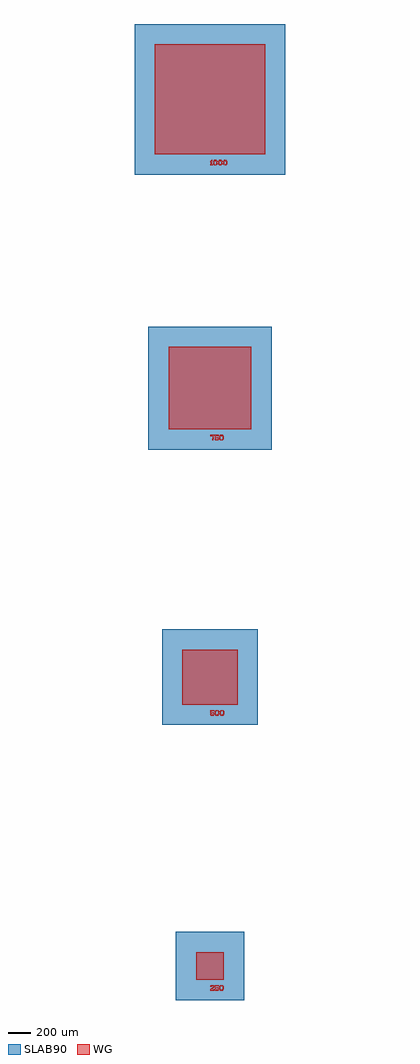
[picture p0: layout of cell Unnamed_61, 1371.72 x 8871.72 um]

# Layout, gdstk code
import gdstk
lib = gdstk.Library(unit=1e-6, precision=1e-09)
def R(c, l, rs):  # rectangles x0, y0, x1, y1
    for r in rs: c.add(gdstk.rectangle(r[:2], r[2:], *l))
def P(c, l, *ps):  # polygons
    for p in ps: c.add(gdstk.Polygon(p, *l))
WG = (1, 0)
SLAB90 = (3, 0)

rectangle_s1371p72_1371_ = lib.new_cell('rectangle_S1371p72_1371_f5a3a8c9')
R(rectangle_s1371p72_1371_, SLAB90, [(0,0,1371.72,1371.72)])

unnamed_73 = lib.new_cell('Unnamed_73')
unnamed_73.add(gdstk.Reference(rectangle_s1371p72_1371_, (-684.86,-185.86)))

unnamed_72 = lib.new_cell('Unnamed_72')
R(unnamed_72, WG, [(-499,0,0,1000), (2,0,501,1000)])
unnamed_72.add(gdstk.Reference(unnamed_73, (0,0)))

text_t1000_s50_p0_0_jlef = lib.new_cell('text_T1000_S50_P0_0_Jleft_L1_0')
P(text_t1000_s50_p0_0_jlef, WG, [(48.5,0),(51,10),(55,10),(60,15),(60,35),(55,40),(57.5,50),(60,50),(70,40),(70,10),(60,0)],
  [(93.5,0),(96,10),(100,10),(105,15),(105,35),(100,40),(102.5,50),(105,50),(115,40),(115,10),(105,0)],
  [(138.5,0),(141,10),(145,10),(150,15),(150,35),(145,40),(147.5,50),(150,50),(160,40),(160,10),(150,0)],
  [(40,0),(30,10),(30,40),(40,50),(51.5,50),(49,40),(45,40),(40,35),(40,15),(45,10),(42.5,0)],
  [(85,0),(75,10),(75,40),(85,50),(96.5,50),(94,40),(90,40),(85,35),(85,15),(90,10),(87.5,0)],
  [(130,0),(120,10),(120,40),(130,50),(141.5,50),(139,40),(135,40),(130,35),(130,15),(135,10),(132.5,0)],
  [(5,0),(5,10),(10,10),(10,30),(5,30),(5,40),(15,50),(20,50),(20,10),(25,10),(25,0)])

rectangle_s871p72_871p7_ = lib.new_cell('rectangle_S871p72_871p7_6941abd5')
R(rectangle_s871p72_871p7_, SLAB90, [(0,0,871.72,871.72)])

unnamed_67 = lib.new_cell('Unnamed_67')
unnamed_67.add(gdstk.Reference(rectangle_s871p72_871p7_, (-434.86,-185.86)))

unnamed_66 = lib.new_cell('Unnamed_66')
R(unnamed_66, WG, [(-249,0,0,500), (2,0,251,500)])
unnamed_66.add(gdstk.Reference(unnamed_67, (0,0)))

rectangle_s1121p72_1121_ = lib.new_cell('rectangle_S1121p72_1121_35d847ae')
R(rectangle_s1121p72_1121_, SLAB90, [(0,0,1121.72,1121.72)])

unnamed_70 = lib.new_cell('Unnamed_70')
unnamed_70.add(gdstk.Reference(rectangle_s1121p72_1121_, (-559.86,-185.86)))

unnamed_69 = lib.new_cell('Unnamed_69')
R(unnamed_69, WG, [(-374,0,0,750), (2,0,376,750)])
unnamed_69.add(gdstk.Reference(unnamed_70, (0,0)))

text_t500_s50_p0_0_jleft = lib.new_cell('text_T500_S50_P0_0_Jleft_L1_0')
P(text_t500_s50_p0_0_jleft, WG, [(63.5,0),(66,10),(70,10),(75,15),(75,35),(70,40),(72.5,50),(75,50),(85,40),(85,10),(75,0)],
  [(108.5,0),(111,10),(115,10),(120,15),(120,35),(115,40),(117.5,50),(120,50),(130,40),(130,10),(120,0)],
  [(55,0),(45,10),(45,40),(55,50),(66.5,50),(64,40),(60,40),(55,35),(55,15),(60,10),(57.5,0)],
  [(100,0),(90,10),(90,40),(100,50),(111.5,50),(109,40),(105,40),(100,35),(100,15),(105,10),(102.5,0)],
  [(10,0),(5,5),(5,15),(15,15),(15,10),(30,10),(30,20),(10,20),(5,25),(5,50),(40,50),(40,40),(15,40),(15,30),(35,30),(40,25),(40,5),(35,0)])

text_t750_s50_p0_0_jleft = lib.new_cell('text_T750_S50_P0_0_Jleft_L1_0')
P(text_t750_s50_p0_0_jleft, WG, [(95,0),(85,10),(85,40),(95,50),(106.5,50),(104,40),(100,40),(95,35),(95,15),(100,10),(97.5,0)],
  [(50,0),(45,5),(45,15),(55,15),(55,10),(70,10),(70,20),(50,20),(45,25),(45,50),(80,50),(80,40),(55,40),(55,30),(75,30),(80,25),(80,5),(75,0)],
  [(103.5,0),(106,10),(110,10),(115,15),(115,35),(110,40),(112.5,50),(115,50),(125,40),(125,10),(115,0)],
  [(20,0),(28,40),(5,40),(5,50),(40,50),(30,0)])

rectangle_s621p72_621p7_ = lib.new_cell('rectangle_S621p72_621p7_074833c5')
R(rectangle_s621p72_621p7_, SLAB90, [(0,0,621.72,621.72)])

unnamed_64 = lib.new_cell('Unnamed_64')
unnamed_64.add(gdstk.Reference(rectangle_s621p72_621p7_, (-309.86,-185.86)))

unnamed_63 = lib.new_cell('Unnamed_63')
R(unnamed_63, WG, [(-124,0,0,250), (2,0,126,250)])
unnamed_63.add(gdstk.Reference(unnamed_64, (0,0)))

text_t250_s50_p0_0_jleft = lib.new_cell('text_T250_S50_P0_0_Jleft_L1_0')
P(text_t250_s50_p0_0_jleft, WG, [(95,0),(85,10),(85,40),(95,50),(106.5,50),(104,40),(100,40),(95,35),(95,15),(100,10),(97.5,0)],
  [(50,0),(45,5),(45,15),(55,15),(55,10),(70,10),(70,20),(50,20),(45,25),(45,50),(80,50),(80,40),(55,40),(55,30),(75,30),(80,25),(80,5),(75,0)],
  [(103.5,0),(106,10),(110,10),(115,15),(115,35),(110,40),(112.5,50),(115,50),(125,40),(125,10),(115,0)],
  [(5,0),(5,10),(30,35),(30,40),(15,40),(15,35),(5,35),(5,45),(10,50),(35,50),(40,45),(40,30),(20,10),(40,10),(40,0)])

unnamed_61 = lib.new_cell('Unnamed_61')
unnamed_61.add(gdstk.Reference(unnamed_72, (0,7500)))
unnamed_61.add(gdstk.Reference(text_t1000_s50_p0_0_jlef, (0,7400)))
unnamed_61.add(gdstk.Reference(unnamed_66, (0,2500)))
unnamed_61.add(gdstk.Reference(unnamed_69, (0,5000)))
unnamed_61.add(gdstk.Reference(text_t500_s50_p0_0_jleft, (0,2400)))
unnamed_61.add(gdstk.Reference(text_t750_s50_p0_0_jleft, (0,4900)))
unnamed_61.add(gdstk.Reference(unnamed_63, (0,0)))
unnamed_61.add(gdstk.Reference(text_t250_s50_p0_0_jleft, (0,-100)))

lib.write_gds('Unnamed_61.gds')
